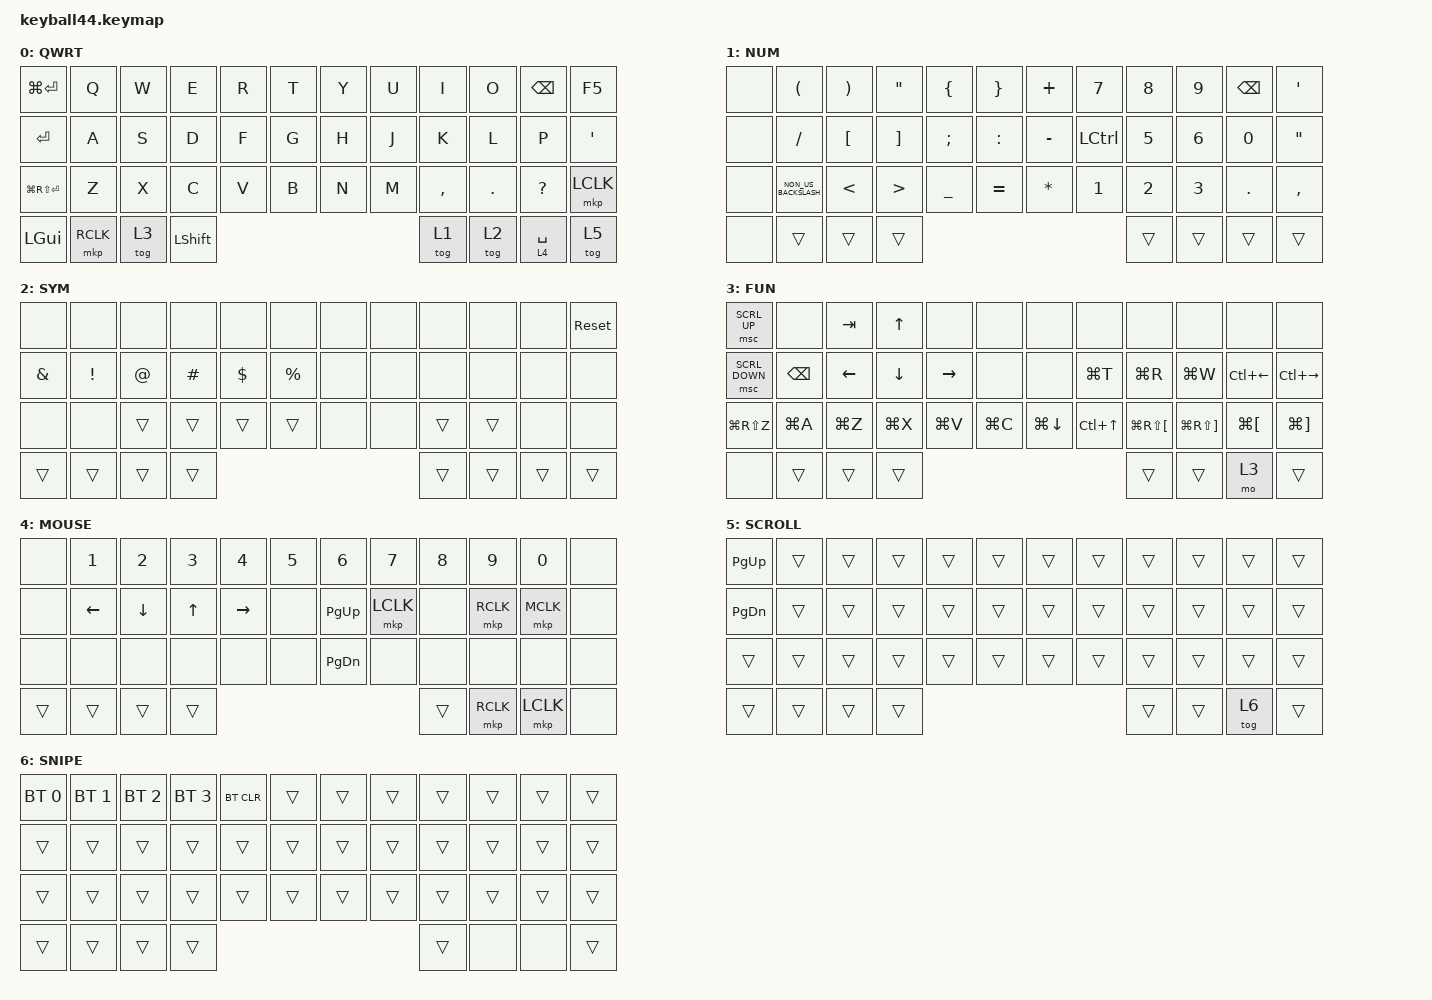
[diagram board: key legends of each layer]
#define DEFAULT 0
#define NUM     1
#define SYM     2
#define FUN     3
#define MOUSE   4
#define SCROLL  5
#define SNIPE   6

#include <behaviors/mouse_keys.dtsi>
#include <dt-bindings/zmk/mouse.h>
#include <behaviors.dtsi>
#include <dt-bindings/zmk/bt.h>
#include <dt-bindings/zmk/keys.h>
#include <dt-bindings/zmk/pointing.h>
#include <dt-bindings/zmk/pointing.h>

&nice_view_spi { cs-gpios = <&pro_micro 1 GPIO_ACTIVE_HIGH>; };

&lt {
    tapping-term-ms = <240>;
    flavor = "balanced";
    quick-tap-ms = <150>;
};

&mt {
    tapping-term-ms = <200>;
    flavor = "tap-preferred";
    quick-tap-ms = <150>;
};

&caps_word { continue-list = <UNDERSCORE MINUS>; };

/ {
    // custom shift using mod-morph 

    behaviors {
        cmqus: comma_question {
            compatible = "zmk,behavior-mod-morph";
            label = "COMMA_QUESTION";
            #binding-cells = <0>;
            bindings = <&kp COMMA>, <&kp QUESTION>;

            mods = <(MOD_LSFT|MOD_RSFT)>;
        };

        dtsmi: dot_semi {
            compatible = "zmk,behavior-mod-morph";
            label = "DOT_SEMI";
            #binding-cells = <0>;
            bindings = <&kp DOT>, <&kp SEMI>;

            mods = <(MOD_LSFT|MOD_RSFT)>;
        };
    };

    keymap {
        compatible = "zmk,keymap";

        default_layer {
            label = "QWRT";
            bindings = <
&kp LG(ENTER)      &kp Q      &kp W   &kp E           &kp R   &kp T              &kp Y        &kp U  &kp I      &kp O    &kp BACKSPACE  &kp F5
&kp ENTER          &kp A      &kp S   &kp D           &kp F   &kp G              &kp H        &kp J  &kp K      &kp L    &kp P          &kp SQT
&kp LG(RS(ENTER))  &kp Z      &kp X   &kp C           &kp V   &kp B              &kp N        &kp M  &kp COMMA  &kp DOT  &kp QUESTION   &mkp LCLK
&kp LGUI           &mkp RCLK  &tog 3  &kp LEFT_SHIFT  &tog 1             &tog 2  &lt 4 SPACE                                            &tog 5
            >;
        };

        number_layer {
            label = "NUM";
            bindings = <
&none  &kp LEFT_PARENTHESIS  &kp RIGHT_PARENTHESIS  &kp DOUBLE_QUOTES  &kp LBRC        &kp RIGHT_BRACE              &kp PLUS      &kp NUMBER_7  &kp NUMBER_8  &kp NUMBER_9  &kp BSPC  &kp SINGLE_QUOTE
&none  &kp FSLH              &kp LBKT               &kp RBKT           &kp SEMI        &kp COLON                    &kp MINUS     &kp LCTRL     &kp N5        &kp N6        &kp N0    &kp DOUBLE_QUOTES
&none  &kp NON_US_BACKSLASH  &kp LESS_THAN          &kp GREATER_THAN   &kp UNDERSCORE  &kp EQUAL                    &kp ASTERISK  &kp N1        &kp N2        &kp N3        &kp DOT   &kp COMMA
&none  &trans                &trans                 &trans             &trans                               &trans  &trans                                                            &trans
            >;
        };

        symbol_layer {
            label = "SYM";
            bindings = <
&none          &none            &none        &none     &none       &none                    &none   &none  &none   &none   &none  &sys_reset
&kp AMPERSAND  &kp EXCLAMATION  &kp AT_SIGN  &kp HASH  &kp DOLLAR  &kp PERCENT              &none   &none  &none   &none   &none  &none
&none          &none            &trans       &trans    &trans      &trans                   &none   &none  &trans  &trans  &none  &none
&trans         &trans           &trans       &trans    &trans                       &trans  &trans                                &trans
            >;
        };

        function_layer {
            label = "FUN";
            bindings = <
&msc SCRL_UP    &none          &kp TAB    &kp UP_ARROW  &none      &none                  &none         &none       &none             &none             &none         &none
&msc SCRL_DOWN  &kp BACKSPACE  &kp LEFT   &kp DOWN      &kp RIGHT  &none                  &none         &kp LG(T)   &kp LG(R)         &kp LG(W)         &kp LC(LEFT)  &kp LC(RIGHT)
&kp LG(RS(Z))   &kp LG(A)      &kp LG(Z)  &kp LG(X)     &kp LG(V)  &kp LG(C)              &kp LG(DOWN)  &kp LC(UP)  &kp LG(RS(LBKT))  &kp LG(RS(RBKT))  &kp LG(LBKT)  &kp LG(RBKT)
&none           &trans         &trans     &trans        &trans                    &trans  &mo 3                                                                       &trans
            >;
        };

        mouse_layer {
            label = "MOUSE";
            bindings = <
&none   &kp N1          &kp N2          &kp N3        &kp N4     &kp N5                 &kp N6         &kp N7     &kp N8  &kp N9     &kp N0     &none
&none   &kp LEFT_ARROW  &kp DOWN_ARROW  &kp UP_ARROW  &kp RIGHT  &none                  &kp PAGE_UP    &mkp LCLK  &none   &mkp RCLK  &mkp MCLK  &none
&none   &none           &none           &none         &none      &none                  &kp PAGE_DOWN  &none      &none   &none      &none      &none
&trans  &trans          &trans          &trans        &trans                 &mkp RCLK  &mkp LCLK                                               &none
            >;
        };

        scroll_layer {
            label = "SCROLL";
            bindings = <
&kp PAGE_UP    &trans  &trans  &trans  &trans  &trans              &trans  &trans  &trans  &trans  &trans  &trans
&kp PAGE_DOWN  &trans  &trans  &trans  &trans  &trans              &trans  &trans  &trans  &trans  &trans  &trans
&trans         &trans  &trans  &trans  &trans  &trans              &trans  &trans  &trans  &trans  &trans  &trans
&trans         &trans  &trans  &trans  &trans              &trans  &tog 6                                  &trans
            >;
        };

        snipe_layer {
            label = "SNIPE";
            bindings = <
&bt BT_SEL 0  &bt BT_SEL 1  &bt BT_SEL 2  &bt BT_SEL 3  &bt BT_CLR  &trans             &trans  &trans  &trans  &trans  &trans  &trans
&trans        &trans        &trans        &trans        &trans      &trans             &trans  &trans  &trans  &trans  &trans  &trans
&trans        &trans        &trans        &trans        &trans      &trans             &trans  &trans  &trans  &trans  &trans  &trans
&trans        &trans        &trans        &trans        &trans                  &none  &none                                   &trans
            >;
        };
    };
};
